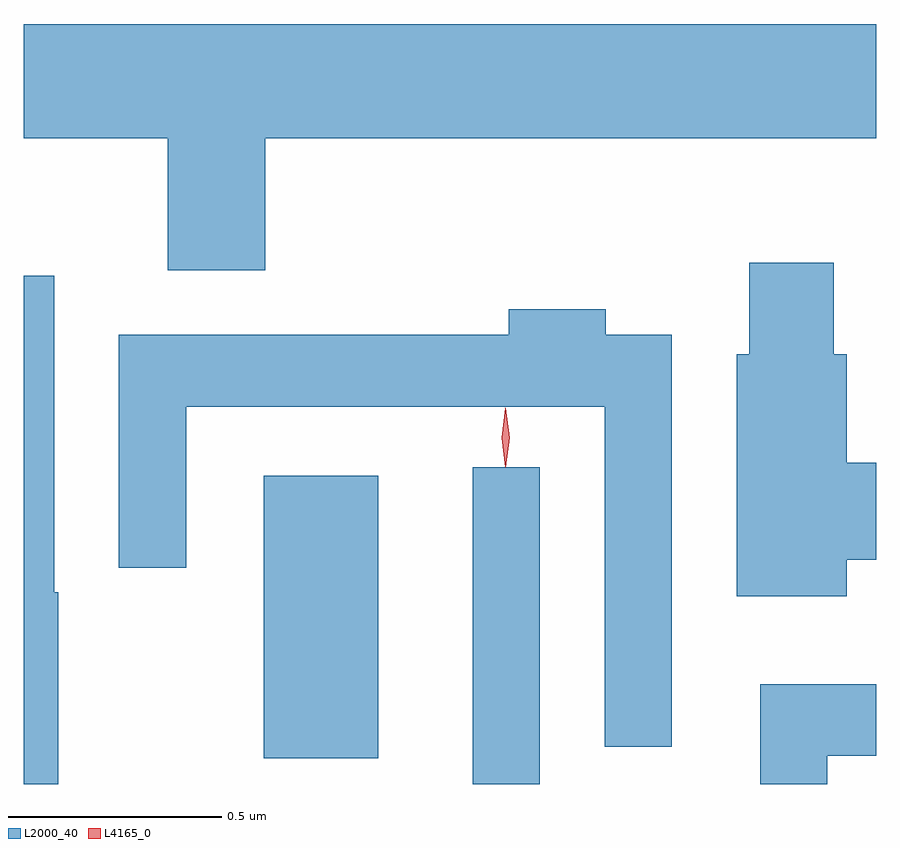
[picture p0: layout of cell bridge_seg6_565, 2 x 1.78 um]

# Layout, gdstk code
import gdstk
lib = gdstk.Library(unit=1e-6, precision=1e-09)
def R(c, l, rs):  # rectangles x0, y0, x1, y1
    for r in rs: c.add(gdstk.rectangle(r[:2], r[2:], *l))
def P(c, l, *ps):  # polygons
    for p in ps: c.add(gdstk.Polygon(p, *l))
L2000_40 = (2000, 40)
L4165_0 = (4165, 0)

bridge_seg6_565 = lib.new_cell('bridge_seg6_565')
R(bridge_seg6_565, L2000_40, [(484.746,1643.98,484.904,1644.723), (484.256,1644.041,484.524,1644.704)])
P(bridge_seg6_565, L2000_40, [(484.259,1645.496),(485.693,1645.496),(485.693,1645.764),(483.693,1645.764),(483.693,1645.496),(484.031,1645.496),(484.031,1645.186),(484.259,1645.186)],
  [(485.624,1644.506),(485.693,1644.506),(485.693,1644.734),(485.624,1644.734),(485.624,1644.989),(485.594,1644.989),(485.594,1645.204),(485.396,1645.204),(485.396,1644.989),(485.366,1644.989),(485.366,1644.421),(485.624,1644.421)],
  [(483.774,1644.43),(483.764,1644.43),(483.764,1645.173),(483.693,1645.173),(483.693,1643.98),(483.774,1643.98)],
  [(485.214,1645.034),(485.059,1645.034),(485.059,1645.094),(484.831,1645.094),(484.831,1645.034),(483.916,1645.034),(483.916,1644.488),(484.074,1644.488),(484.074,1644.866),(485.056,1644.866),(485.056,1644.068),(485.214,1644.068)],
  [(485.579,1644.046),(485.693,1644.046),(485.693,1644.214),(485.421,1644.214),(485.421,1643.98),(485.579,1643.98)])
P(bridge_seg6_565, L4165_0, [(484.823,1644.723),(484.823,1644.724),(484.814,1644.793),(484.823,1644.862),(484.823,1644.863),(484.824,1644.862),(484.833,1644.793),(484.824,1644.724)])

lib.write_gds('bridge_seg6_565.gds')
